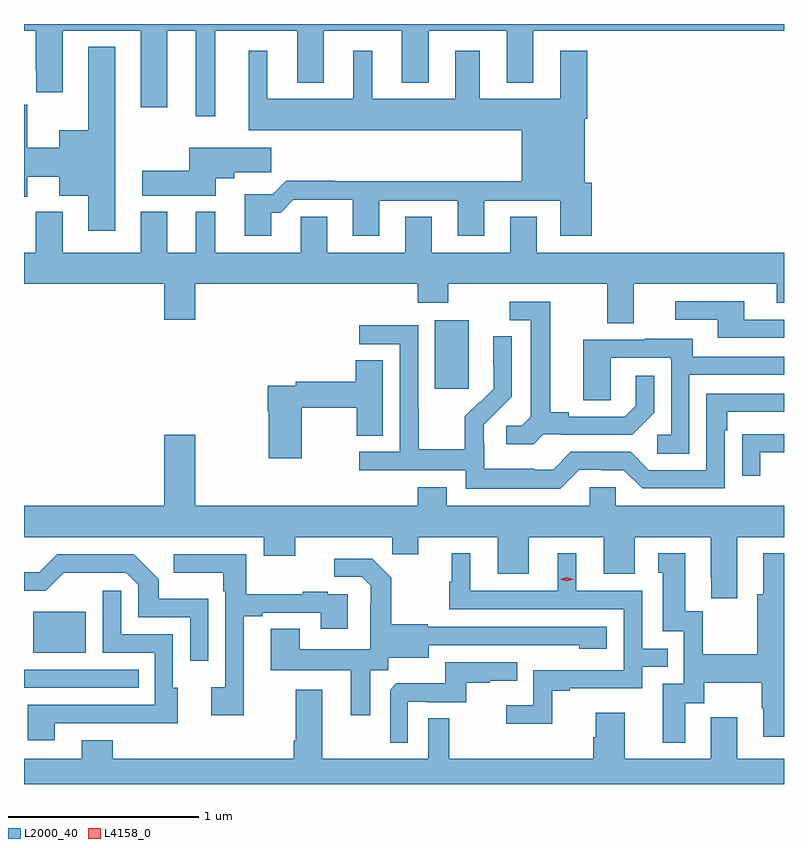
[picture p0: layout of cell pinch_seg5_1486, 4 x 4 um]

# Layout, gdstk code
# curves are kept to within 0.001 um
import gdstk
lib = gdstk.Library(unit=1e-6, precision=1e-09)
def R(c, l, rs):  # rectangles x0, y0, x1, y1
    for r in rs: c.add(gdstk.rectangle(r[:2], r[2:], *l))
def P(c, l, *ps):  # polygons
    for p in ps: c.add(gdstk.Polygon(p, *l))
L2000_40 = (2000, 40)
L4158_0 = (4158, 0)

pinch_seg5_1486 = lib.new_cell('pinch_seg5_1486')
R(pinch_seg5_1486, L2000_40, [(260.174,843.978,260.777,844.074), (260.222,844.163,260.5,844.378), (262.337,845.553,262.516,845.914)])
P(pinch_seg5_1486, L2000_40, [(261.181,847.436),(261.611,847.436),(261.611,847.163),(261.751,847.163),(261.751,847.436),(262.163,847.436),(262.163,847.163),(262.303,847.163),(262.303,847.436),(262.715,847.436),(262.715,847.163),(262.855,847.163),(262.855,847.436),(264.174,847.436),(264.174,847.472),(260.174,847.472),(260.174,847.436),(260.237,847.436),(260.237,847.225),(260.238,847.225),(260.238,847.113),(260.377,847.113),(260.377,847.436),(260.789,847.436),(260.789,847.035),(260.929,847.035),(260.929,847.436),(261.077,847.436),(261.077,846.987),(261.181,846.987)],
  [(260.653,847.351),(260.513,847.351),(260.513,846.913),(260.36,846.913),(260.36,846.82),(260.19,846.82),(260.19,847.047),(260.174,847.047),(260.174,846.562),(260.191,846.562),(260.191,846.668),(260.36,846.668),(260.36,846.569),(260.513,846.569),(260.513,846.384),(260.653,846.384)],
  [(261.475,846.479),(261.524,846.479),(261.591,846.546),(261.905,846.546),(261.905,846.357),(262.045,846.357),(262.045,846.543),(262.457,846.543),(262.457,846.357),(262.597,846.357),(262.597,846.543),(262.997,846.543),(262.997,846.357),(263.162,846.357),(263.162,846.636),(263.125,846.636),(263.125,846.974),(263.138,846.974),(263.138,847.33),(262.997,847.33),(262.997,847.078),(262.573,847.078),(262.573,847.33),(262.445,847.33),(262.445,847.078),(262.006,847.078),(262.006,847.33),(261.908,847.33),(261.908,847.078),(261.454,847.078),(261.454,847.33),(261.356,847.33),(261.356,846.914),(262.793,846.914),(262.793,846.644),(261.809,846.644),(261.809,846.647),(261.554,846.647),(261.484,846.577),(261.335,846.577),(261.335,846.357),(261.475,846.357)],
  [(261.184,846.659),(261.28,846.659),(261.28,846.691),(261.475,846.691),(261.475,846.82),(261.044,846.82),(261.044,846.699),(260.796,846.699),(260.796,846.569),(261.184,846.569)],
  [(263.383,846.104),(264.137,846.104),(264.137,846.005),(264.174,846.005),(264.174,846.268),(262.873,846.268),(262.873,846.458),(262.733,846.458),(262.733,846.268),(262.321,846.268),(262.321,846.458),(262.181,846.458),(262.181,846.268),(261.769,846.268),(261.769,846.458),(261.63,846.458),(261.63,846.268),(261.181,846.268),(261.181,846.484),(261.077,846.484),(261.077,846.268),(260.929,846.268),(260.929,846.484),(260.789,846.484),(260.789,846.268),(260.377,846.268),(260.377,846.484),(260.237,846.484),(260.237,846.268),(260.174,846.268),(260.174,846.104),(260.912,846.104),(260.912,845.916),(261.076,845.916),(261.076,846.104),(262.247,846.104),(262.247,846.005),(262.407,846.005),(262.407,846.104),(263.243,846.104),(263.243,845.896),(263.383,845.896)],
  [(264.174,845.916),(263.965,845.916),(263.965,846.012),(263.601,846.012),(263.601,845.916),(263.825,845.916),(263.825,845.82),(264.174,845.82)],
  [(262.908,845.313),(263.002,845.313),(263.002,845.31),(263.374,845.31),(263.49,845.426),(263.49,845.62),(263.393,845.62),(263.393,845.463),(263.336,845.406),(263.041,845.406),(263.041,845.429),(262.945,845.429),(262.945,846.009),(262.731,846.009),(262.731,845.913),(262.841,845.913),(262.841,845.405),(262.794,845.358),(262.713,845.358),(262.713,845.261),(262.856,845.261)],
  [(263.097,845.127),(263.213,845.127),(263.213,845.124),(263.331,845.124),(263.427,845.028),(263.862,845.028),(263.862,845.333),(263.875,845.333),(263.875,845.43),(264.174,845.43),(264.174,845.526),(263.766,845.526),(263.766,845.124),(263.463,845.124),(263.367,845.22),(263.052,845.22),(262.959,845.127),(262.859,845.127),(262.859,845.131),(262.596,845.131),(262.596,845.265),(262.594,845.265),(262.594,845.362),(262.74,845.51),(262.74,845.828),(262.644,845.828),(262.644,845.674),(262.646,845.674),(262.646,845.552),(262.575,845.481),(262.572,845.484),(262.495,845.407),(262.495,845.233),(262.251,845.233),(262.251,845.456),(262.248,845.456),(262.248,845.886),(261.939,845.886),(261.939,845.787),(262.152,845.787),(262.152,845.22),(261.939,845.22),(261.939,845.124),(262.5,845.124),(262.5,845.027),(262.997,845.027)],
  [(263.676,845.625),(264.174,845.625),(264.174,845.721),(263.695,845.721),(263.695,845.815),(263.441,845.815),(263.441,845.811),(263.117,845.811),(263.117,845.491),(263.262,845.491),(263.262,845.715),(263.58,845.715),(263.58,845.31),(263.508,845.31),(263.508,845.209),(263.676,845.209)],
  [(261.636,845.452),(261.925,845.452),(261.925,845.305),(262.063,845.305),(262.063,845.702),(261.92,845.702),(261.92,845.588),(261.604,845.588),(261.604,845.568),(261.458,845.568),(261.458,845.435),(261.463,845.435),(261.463,845.187),(261.636,845.187)],
  [(264.049,845.217),(264.174,845.217),(264.174,845.313),(264.055,845.313),(264.055,845.312),(263.953,845.312),(263.953,845.094),(264.049,845.094)],
  [(263.929,844.772),(264.174,844.772),(264.174,844.936),(263.289,844.936),(263.289,845.034),(263.151,845.034),(263.151,844.936),(262.399,844.936),(262.399,845.035),(262.247,845.035),(262.247,844.936),(261.076,844.936),(261.076,845.311),(260.912,845.311),(260.912,844.936),(260.174,844.936),(260.174,844.772),(261.437,844.772),(261.437,844.673),(261.601,844.673),(261.601,844.772),(262.111,844.772),(262.111,844.682),(262.249,844.682),(262.249,844.772),(262.667,844.772),(262.667,844.578),(262.831,844.578),(262.831,844.772),(263.225,844.772),(263.225,844.578),(263.389,844.578),(263.389,844.772),(263.789,844.772),(263.789,844.561),(263.791,844.561),(263.791,844.449),(263.929,844.449)],
  [(262.953,843.963),(263.047,843.963),(263.047,843.975),(263.427,843.975),(263.427,844.089),(263.561,844.089),(263.561,844.185),(263.427,844.185),(263.427,844.488),(263.08,844.488),(263.08,844.687),(262.982,844.687),(262.982,844.488),(262.522,844.488),(262.522,844.687),(262.424,844.687),(262.424,844.536),(262.413,844.536),(262.413,844.392),(263.331,844.392),(263.331,844.071),(262.854,844.071),(262.854,843.886),(262.713,843.886),(262.713,843.788),(262.953,843.788)],
  [(263.653,843.898),(263.755,843.898),(263.755,844.004),(264.058,844.004),(264.058,843.87),(264.065,843.87),(264.065,843.72),(264.174,843.72),(264.174,844.687),(264.065,844.687),(264.065,844.471),(264.032,844.471),(264.032,844.156),(263.746,844.156),(263.746,844.381),(263.653,844.381),(263.653,844.687),(263.513,844.687),(263.513,844.584),(263.537,844.584),(263.537,844.275),(263.646,844.275),(263.646,843.999),(263.537,843.999),(263.537,843.69),(263.653,843.69)],
  [(261.144,844.447),(260.883,844.447),(260.883,844.55),(260.752,844.68),(260.349,844.68),(260.255,844.586),(260.174,844.586),(260.174,844.488),(260.289,844.488),(260.384,844.583),(260.712,844.584),(260.775,844.521),(260.775,844.35),(261.048,844.35),(261.048,844.122),(261.144,844.122)],
  [(261.331,844.356),(261.427,844.356),(261.427,844.374),(261.737,844.374),(261.737,844.29),(261.877,844.29),(261.877,844.47),(261.773,844.47),(261.773,844.483),(261.641,844.483),(261.641,844.472),(261.343,844.472),(261.343,844.68),(260.961,844.68),(260.961,844.583),(261.222,844.583),(261.222,844.487),(261.234,844.487),(261.234,843.982),(261.159,843.982),(261.159,843.834),(261.331,843.834)],
  [(261.997,844.072),(262.092,844.072),(262.092,844.136),(262.303,844.136),(262.303,844.203),(263.097,844.202),(263.097,844.184),(263.242,844.184),(263.242,844.299),(262.299,844.299),(262.299,844.312),(262.107,844.312),(262.107,844.557),(262.007,844.657),(261.807,844.657),(261.807,844.563),(261.951,844.563),(261.998,844.516),(261.998,844.421),(261.996,844.421),(261.996,844.18),(261.625,844.18),(261.625,844.289),(261.473,844.289),(261.473,844.07),(261.893,844.07),(261.893,843.834),(261.997,843.834)],
  [(260.335,843.792),(260.765,843.792),(260.765,843.791),(260.983,843.791),(260.983,843.978),(260.958,843.978),(260.958,844.26),(260.685,844.26),(260.685,844.489),(260.589,844.489),(260.589,844.164),(260.862,844.164),(260.862,843.888),(260.195,843.888),(260.195,843.702),(260.335,843.702)],
  [(262.194,843.906),(262.294,843.906),(262.294,843.903),(262.502,843.903),(262.502,844.005),(262.625,844.005),(262.625,844.016),(262.769,844.016),(262.769,844.113),(262.392,844.113),(262.392,844.001),(262.133,844.001),(262.101,843.969),(262.101,843.689),(262.194,843.689)],
  [(263.929,843.823),(263.789,843.823),(263.789,843.604),(263.335,843.604),(263.335,843.847),(263.183,843.847),(263.183,843.717),(263.171,843.717),(263.171,843.604),(262.411,843.604),(262.411,843.818),(262.302,843.818),(262.302,843.604),(261.745,843.604),(261.745,843.967),(261.605,843.967),(261.605,843.7),(261.593,843.7),(261.593,843.604),(260.641,843.604),(260.641,843.703),(260.477,843.703),(260.477,843.604),(260.174,843.604),(260.174,843.472),(264.174,843.472),(264.174,843.604),(263.929,843.604)])
P(pinch_seg5_1486, L4158_0, [(263.031,844.54),(262.995,844.55),(262.995,844.55),(262.995,844.55),(263.031,844.56),(263.067,844.55),(263.067,844.55),(263.067,844.55)])

lib.write_gds('pinch_seg5_1486.gds')
